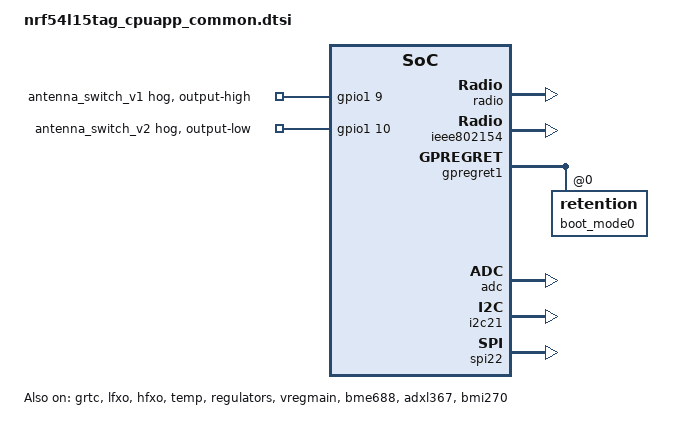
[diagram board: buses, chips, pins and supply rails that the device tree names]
/*
 * Copyright (c) 2025 Nordic Semiconductor ASA
 *
 * SPDX-License-Identifier: Apache-2.0
 */

#include "nrf54l15tag_common.dtsi"

/ {
	chosen {
		zephyr,flash-controller = &rram_controller;
		zephyr,flash = &cpuapp_rram;
		zephyr,ieee802154 = &ieee802154;
		zephyr,boot-mode = &boot_mode0;
	};

	aliases {
		mcuboot-led0 = &led1_blue;
		mcuboot-button0 = &button0;
	};
};

&grtc {
	owned-channels = <0 1 2 3 4 5 6 7 8 9 10 11>;
	/* Channels 7-11 reserved for Zero Latency IRQs, 3-4 for FLPR */
	child-owned-channels = <3 4 7 8 9 10 11>;
	status = "okay";
};

&lfxo {
	status = "okay";
	load-capacitors = "internal";
	load-capacitance-femtofarad = <9000>;
};

&hfxo {
	status = "okay";
	load-capacitors = "internal";
	load-capacitance-femtofarad = <8000>;
};

&radio {
	status = "okay";
};

&ieee802154 {
	status = "okay";
};

&temp {
	status = "okay";
};

&clock {
	status = "okay";
};

&regulators {
	status = "okay";
};

&vregmain {
	status = "okay";
	regulator-initial-mode = <NRF5X_REG_MODE_DCDC>;
};

&gpregret1 {
	status = "okay";

	boot_mode0: boot_mode@0 {
		compatible = "zephyr,retention";
		status = "okay";
		reg = <0x0 0x1>;
	};
};

&adc {
	status = "okay";
};

&i2c21 {
	status = "okay";
};

&bme688 {
	status = "okay";
};

&adxl367 {
	status = "okay";
};

&spi22 {
	status = "okay";
};

&bmi270 {
	status = "okay";
};

/* Initially connect ANT1 to SoC */
&gpio1 {
	antenna_switch_v1 {
		gpio-hog;
		gpios = <9 GPIO_ACTIVE_HIGH>;
		output-high;
	};

	antenna_switch_v2 {
		gpio-hog;
		gpios = <10 GPIO_ACTIVE_HIGH>;
		output-low;
	};
};
